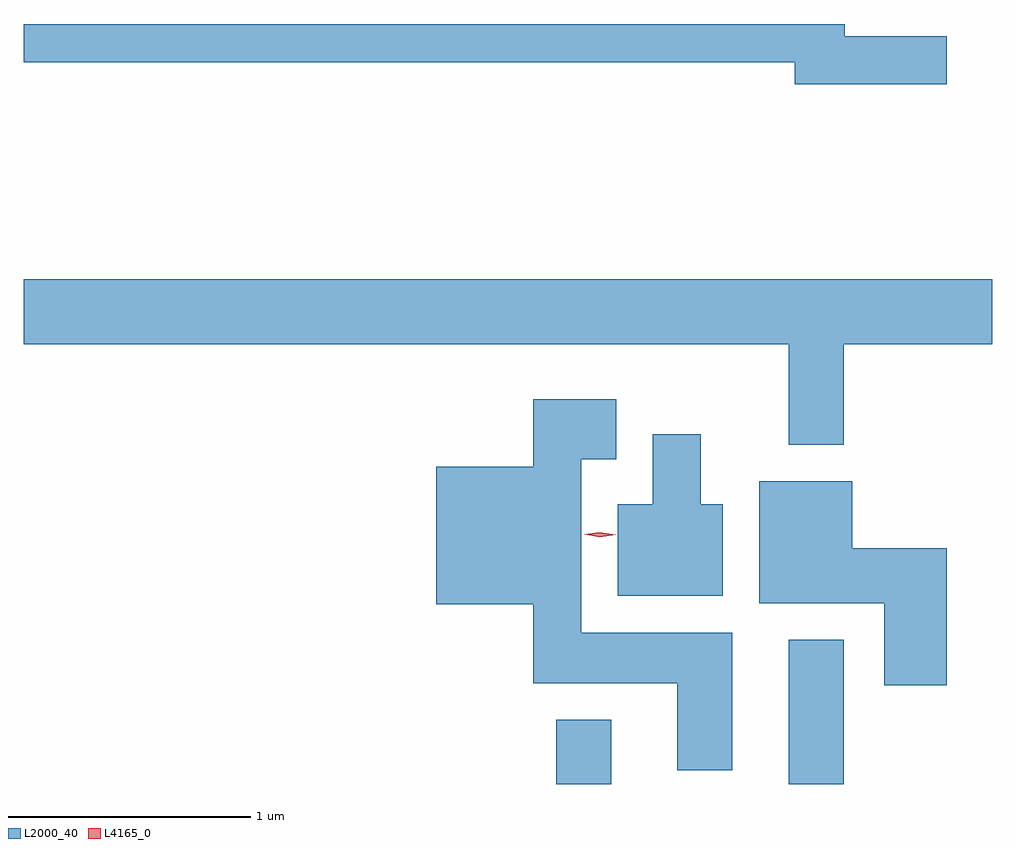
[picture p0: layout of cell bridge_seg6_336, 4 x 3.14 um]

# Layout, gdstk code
import gdstk
lib = gdstk.Library(unit=1e-6, precision=1e-09)
def R(c, l, rs):  # rectangles x0, y0, x1, y1
    for r in rs: c.add(gdstk.rectangle(r[:2], r[2:], *l))
def P(c, l, *ps):  # polygons
    for p in ps: c.add(gdstk.Polygon(p, *l))
L2000_40 = (2000, 40)
L4165_0 = (4165, 0)

bridge_seg6_336 = lib.new_cell('bridge_seg6_336')
R(bridge_seg6_336, L2000_40, [(1289.501,1545.999,1289.729,1546.264), (1290.461,1545.999,1290.689,1546.594)])
P(bridge_seg6_336, L2000_40, [(1291.114,1549.089),(1290.694,1549.089),(1290.694,1549.139),(1287.302,1549.139),(1287.302,1548.981),(1290.486,1548.981),(1290.486,1548.891),(1291.114,1548.891)],
  [(1290.689,1547.816),(1291.302,1547.816),(1291.302,1548.084),(1287.302,1548.084),(1287.302,1547.816),(1290.461,1547.816),(1290.461,1547.401),(1290.689,1547.401)],
  [(1290.229,1546.624),(1289.604,1546.624),(1289.604,1547.341),(1289.749,1547.341),(1289.749,1547.589),(1289.406,1547.589),(1289.406,1547.309),(1289.006,1547.309),(1289.006,1546.741),(1289.406,1546.741),(1289.406,1546.416),(1290.001,1546.416),(1290.001,1546.056),(1290.229,1546.056)],
  [(1290.189,1547.154),(1290.099,1547.154),(1290.099,1547.444),(1289.901,1547.444),(1289.901,1547.154),(1289.756,1547.154),(1289.756,1546.776),(1290.189,1546.776)],
  [(1291.114,1546.974),(1290.724,1546.974),(1290.724,1547.249),(1290.341,1547.249),(1290.341,1546.746),(1290.856,1546.746),(1290.856,1546.406),(1291.114,1546.406)])
P(bridge_seg6_336, L4165_0, [(1289.682,1547.019),(1289.616,1547.03),(1289.616,1547.03),(1289.616,1547.031),(1289.682,1547.039),(1289.747,1547.028),(1289.748,1547.028),(1289.747,1547.028)])

lib.write_gds('bridge_seg6_336.gds')
